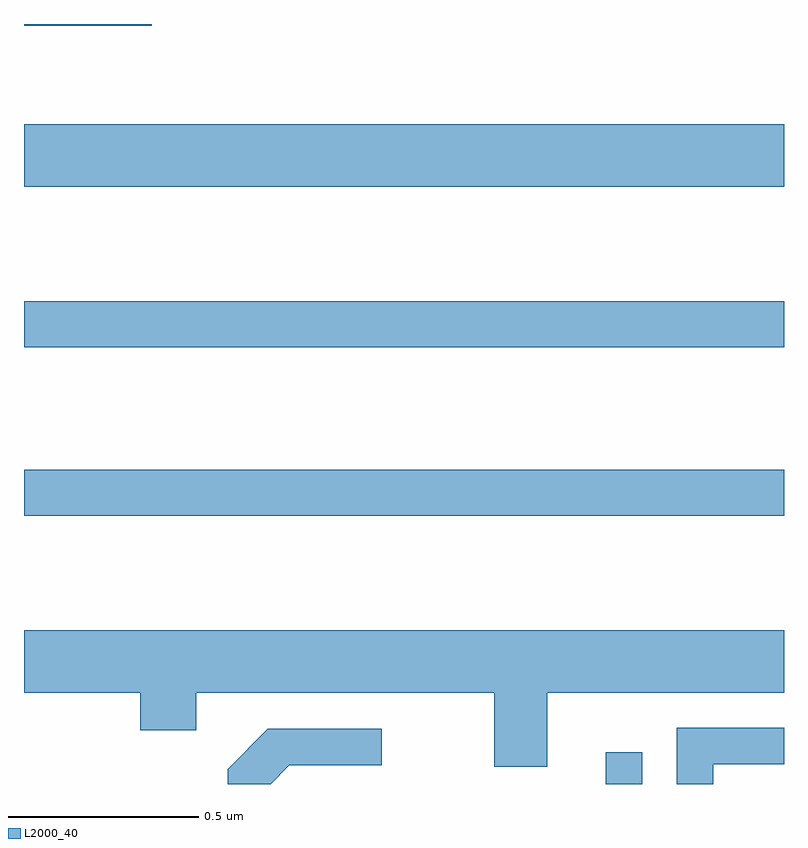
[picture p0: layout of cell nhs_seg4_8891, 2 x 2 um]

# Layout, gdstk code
import gdstk
lib = gdstk.Library(unit=1e-6, precision=1e-09)
def R(c, l, rs):  # rectangles x0, y0, x1, y1
    for r in rs: c.add(gdstk.rectangle(r[:2], r[2:], *l))
def P(c, l, *ps):  # polygons
    for p in ps: c.add(gdstk.Polygon(p, *l))
L2000_40 = (2000, 40)

nhs_seg4_8891 = lib.new_cell('nhs_seg4_8891')
R(nhs_seg4_8891, L2000_40, [(221.531,809.9,221.627,809.983), (220,810.606,222,810.727), (220,811.05,222,811.171), (220,811.472,222,811.636), (220,811.895,220.336,811.9)])
P(nhs_seg4_8891, L2000_40, [(221.377,810.14),(222,810.14),(222,810.304),(220,810.304),(220,810.14),(220.306,810.14),(220.306,810.041),(220.453,810.041),(220.453,810.14),(221.237,810.14),(221.237,809.946),(221.377,809.946)],
  [(221.814,809.952),(222,809.952),(222,810.048),(221.718,810.048),(221.718,809.9),(221.814,809.9)],
  [(220.698,809.949),(220.942,809.949),(220.942,810.045),(220.641,810.045),(220.536,809.939),(220.536,809.9),(220.649,809.9)])

lib.write_gds('nhs_seg4_8891.gds')
